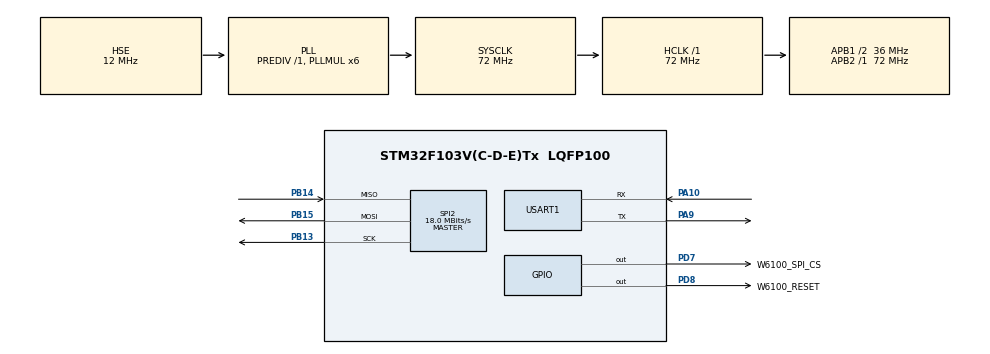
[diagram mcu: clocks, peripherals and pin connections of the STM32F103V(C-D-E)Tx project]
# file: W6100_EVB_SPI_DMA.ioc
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Dma.Request0=SPI2_RX
Dma.Request1=SPI2_TX
Dma.SPI2_RX.0.Direction=DMA_PERIPH_TO_MEMORY
Dma.SPI2_RX.0.Instance=DMA1_Channel4
Dma.SPI2_RX.0.MemDataAlignment=DMA_MDATAALIGN_BYTE
Dma.SPI2_RX.0.MemInc=DMA_MINC_ENABLE
Dma.SPI2_RX.0.Mode=DMA_NORMAL
Dma.SPI2_RX.0.PeriphDataAlignment=DMA_PDATAALIGN_BYTE
Dma.SPI2_RX.0.PeriphInc=DMA_PINC_DISABLE
Dma.SPI2_RX.0.Priority=DMA_PRIORITY_LOW
Dma.SPI2_TX.1.Direction=DMA_MEMORY_TO_PERIPH
Dma.SPI2_TX.1.Instance=DMA1_Channel5
Dma.SPI2_TX.1.MemDataAlignment=DMA_MDATAALIGN_BYTE
Dma.SPI2_TX.1.MemInc=DMA_MINC_ENABLE
Dma.SPI2_TX.1.Mode=DMA_NORMAL
Dma.SPI2_TX.1.PeriphDataAlignment=DMA_PDATAALIGN_BYTE
Dma.SPI2_TX.1.PeriphInc=DMA_PINC_DISABLE
Dma.SPI2_TX.1.Priority=DMA_PRIORITY_LOW
Mcu.Family=STM32F1
Mcu.Name=STM32F103V(C-D-E)Tx
Mcu.Package=LQFP100
NVIC.DMA1_Channel4_IRQn=true\:0\:0\:false\:false\:true\:false\:true\:true
NVIC.DMA1_Channel5_IRQn=true\:0\:0\:false\:false\:true\:false\:true\:true
NVIC.PriorityGroup=NVIC_PRIORITYGROUP_4
NVIC.SPI2_IRQn=true\:0\:0\:false\:false\:true\:true\:true\:true
NVIC.TIM2_IRQn=true\:0\:0\:false\:false\:true\:true\:true\:true
NVIC.USART1_IRQn=true\:0\:0\:false\:false\:true\:true\:true\:true
OSC_IN.Mode=HSE-External-Oscillator
OSC_IN.Signal=RCC_OSC_IN
OSC_OUT.Mode=HSE-External-Oscillator
OSC_OUT.Signal=RCC_OSC_OUT
PA10.Mode=Asynchronous
PA10.Signal=USART1_RX
PA9.Mode=Asynchronous
PA9.Signal=USART1_TX
PB13.Mode=Full_Duplex_Master
PB13.Signal=SPI2_SCK
PB14.Mode=Full_Duplex_Master
PB14.Signal=SPI2_MISO
PB15.Mode=Full_Duplex_Master
PB15.Signal=SPI2_MOSI
PD7.GPIO_Label=W6100_SPI_CS
PD7.Signal=GPIO_Output
PD8.GPIO_Label=W6100_RESET
PD8.Signal=GPIO_Output
ProjectManager.HeapSize=0x200
ProjectManager.StackSize=0x400
ProjectManager.TargetToolchain=STM32CubeIDE
RCC.AHBFreq_Value=72000000
RCC.APB1CLKDivider=RCC_HCLK_DIV2
RCC.APB1Freq_Value=36000000
RCC.APB1TimFreq_Value=72000000
RCC.APB2Freq_Value=72000000
RCC.APB2TimFreq_Value=72000000
RCC.HCLKFreq_Value=72000000
RCC.HSE_VALUE=12000000
RCC.PLLMUL=RCC_PLL_MUL6
RCC.PLLSourceVirtual=RCC_PLLSOURCE_HSE
RCC.SYSCLKFreq_VALUE=72000000
RCC.SYSCLKSource=RCC_SYSCLKSOURCE_PLLCLK
RCC.USBFreq_Value=72000000
SPI2.CLKPhase=SPI_PHASE_2EDGE
SPI2.CLKPolarity=SPI_POLARITY_HIGH
SPI2.CalculateBaudRate=18.0 MBits/s
SPI2.Direction=SPI_DIRECTION_2LINES
SPI2.Mode=SPI_MODE_MASTER
SPI2.VirtualType=VM_MASTER
TIM2.AutoReloadPreload=TIM_AUTORELOAD_PRELOAD_ENABLE
TIM2.Period=10000
TIM2.Prescaler=7199
USART1.VirtualMode=VM_ASYNC
VP_TIM2_VS_ClockSourceINT.Mode=Internal
board=custom

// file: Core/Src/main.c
/* USER CODE BEGIN Header */
/**
  ******************************************************************************
  * @file           : main.c
  * @brief          : Main program body
  ******************************************************************************
  * @attention
  *
  * Copyright (c) 2022 STMicroelectronics.
  * All rights reserved.
  *
  * This software is licensed under terms that can be found in the LICENSE file
  * in the root directory of this software component.
  * If no LICENSE file comes with this software, it is provided AS-IS.
  *
  ******************************************************************************
  */
/* USER CODE END Header */
#include "main.h"

/* USER CODE BEGIN Includes */
#include <stdio.h>
#include "loopback.h"
#include "board_init.h"
#include "AddressAutoConfig.h"
#include "Internet/DHCP6/dhcpv6.h"
#include "Internet/DHCP/dhcp.h"
/* USER CODE END Includes */

/* USER CODE BEGIN PD */
#define ETH_MAX_BUF_SIZE	1024  // default socket buffer size is 2048 Kbytes

// W6100 has 6 sockets(0 - 7).
#define SOCKET_AAC 7
#define SOCKET_DHCP 7
/* USER CODE END PD */

SPI_HandleTypeDef hspi2;
DMA_HandleTypeDef hdma_spi2_rx;
DMA_HandleTypeDef hdma_spi2_tx;

TIM_HandleTypeDef htim2;

UART_HandleTypeDef huart1;

/* USER CODE BEGIN PV */
wiz_NetInfo gWIZNETINFO = {
              .mac = {0x00, 0x08, 0xdc, 0xFF, 0xFF, 0xFF},
							.ip = {192, 168, 111, 107},
							.sn = {255, 255, 255, 0},
							.gw = {192, 168, 11, 1},
							.dns = {8, 8, 8, 8},
							.lla={
                0x00, 0x00, 0x00, 0x00,
                0x00, 0x00, 0x00, 0x00,
                0x00, 0x00, 0x00, 0x00,
                0x00, 0x00, 0x00, 0x00},   ///< Source Link Local Address
							.gua={
								0x00, 0x00, 0x00, 0x00,
                0x00, 0x00, 0x00, 0x00,
                0x00, 0x00, 0x00, 0x00,
                0x00, 0x00, 0x00, 0x00},   ///< Source Global Unicast Address
							.sn6={
								0xFF, 0xFF, 0xFF, 0xFF,
                0xff, 0xFF, 0xFF, 0xFF,
                0x00, 0x00, 0x00, 0x00,
                0x00, 0x00, 0x00, 0x00},   ///< IPv6 Prefix
							.gw6={
								0x00, 0x00, 0x00, 0x00,
                0x00, 0x00, 0x00, 0x00,
                0x00, 0x00, 0x00, 0x00,
                0x00, 0x00, 0x00, 0x00}   ///< Gateway IPv6 Address
};

wiz_NetInfo gWIZNETINFO_M = {
              .mac = {0x00, 0x08, 0xdc, 0xFF, 0xFF, 0xFF},
							.ip = {192, 168, 11, 107},
							.sn = {255, 255, 255, 0},
							.gw = {192, 168, 11, 1},
							.dns = {8, 8, 8, 8},
							.lla={
                0x00, 0x00, 0x00, 0x00,
                0x00, 0x00, 0x00, 0x00,
                0x00, 0x00, 0x00, 0x00,
                0x00, 0x00, 0x00, 0x00},   ///< Source Link Local Address
							.gua={
                0x00, 0x00, 0x00, 0x00,
                0x00, 0x00, 0x00, 0x00,
                0x00, 0x00, 0x00, 0x00,
                0x00, 0x00, 0x00, 0x00},   ///< Source Global Unicast Address
							.sn6={
                0xFF, 0xFF, 0xFF, 0xFF,
                0xff, 0xFF, 0xFF, 0xFF,
                0x00, 0x00, 0x00, 0x00,
                0x00, 0x00, 0x00, 0x00},   ///< IPv6 Prefix
							.gw6={
                0x00, 0x00, 0x00, 0x00,
                0x00, 0x00, 0x00, 0x00,
                0x00, 0x00, 0x00, 0x00,
                0x00, 0x00, 0x00, 0x00}   ///< Gateway IPv6 Address
};

unsigned char ethBuf0[ETH_MAX_BUF_SIZE];
unsigned char ethBuf1[ETH_MAX_BUF_SIZE];
unsigned char ethBuf2[ETH_MAX_BUF_SIZE];
unsigned char ethBuf3[ETH_MAX_BUF_SIZE];
unsigned char ethBuf4[ETH_MAX_BUF_SIZE];
unsigned char ethBuf5[ETH_MAX_BUF_SIZE];
unsigned char ethBuf6[ETH_MAX_BUF_SIZE];
unsigned char ethBuf7[ETH_MAX_BUF_SIZE];

/* USER CODE END PV */

void SystemClock_Config(void);
static void MX_GPIO_Init(void);
static void MX_DMA_Init(void);
static void MX_SPI2_Init(void);
static void MX_USART1_UART_Init(void);
static void MX_TIM2_Init(void);
/* USER CODE BEGIN PFP */
void print_network_information(void);
void HAL_TIM_PeriodElapsedCallback(TIM_HandleTypeDef *htim);
static void wizchip_dhcp_assign(void);
static void wizchip_dhcp_conflict(void);
void wizchip_dhcp_init(void);
void print_ipv6_addr(const char* name, uint8_t* ip6addr);
/* USER CODE END PFP */

int main(void)
{
  /* USER CODE BEGIN 1 */
 	uint16_t ver = 0;
	uint8_t syslock = SYS_NET_LOCK;
	uint8_t svr_ipv4[4] = {192, 168, 177, 235};
	uint8_t svr_ipv6[16] = {
    0xFE, 0x80, 0x00, 0x00,
    0x00, 0x00, 0x00, 0x00,
    0xC1, 0x0B, 0x0A, 0xDF,
    0xEA, 0xF4, 0xF4, 0x2D};

  /* USER CODE END 1 */

  /* MCU Configuration--------------------------------------------------------*/

  /* Reset of all peripherals, Initializes the Flash interface and the Systick. */
  HAL_Init();

  /* Configure the system clock */
  SystemClock_Config();

  /* Initialize all configured peripherals */
  MX_GPIO_Init();
  MX_DMA_Init();
  MX_SPI2_Init();
  MX_USART1_UART_Init();
  MX_TIM2_Init();
  /* USER CODE BEGIN 2 */

  printf("\r\n");
  printf("======================================================\r\n");
  printf("Compiled @ %s %s\r\n", __DATE__, __TIME__);
  printf("W6100-EVB SPI\r\n");
  printf("System start (%d Hz)\r\n", HAL_RCC_GetSysClockFreq());
  printf("======================================================\r\n");

  HAL_TIM_Base_Start_IT(&htim2);
  W6100Initialze();

  ctlwizchip(CW_GET_VER, &ver);
  printf("Chip ver = 0x%x\r\n", ver);

  ctlwizchip(CW_SYS_UNLOCK, &syslock);
  ctlnetwork(CN_SET_NETINFO, &gWIZNETINFO);

  printf("Network Information\r\n");
  print_network_information();

  /* Address Auto Configuration */
  if(1 != AddressAutoConfig_Init(SOCKET_AAC, &gWIZNETINFO))
  {
    // Manual Set IPv6
    gWIZNETINFO = gWIZNETINFO_M;
    ctlnetwork(CN_SET_NETINFO, &gWIZNETINFO);
  }

  printf("DHCP init()\r\n");
  wizchip_dhcp_init();

  printf("DHCP run()\r\n");
  while (DHCP_run() != DHCP_IP_LEASED)
  {
      wiz_delay_ms(1000);
  }
  /* USER CODE END 2 */

  /* Infinite loop */
  /* USER CODE BEGIN WHILE */
  while (1)
  {
#if 1
	  loopback_udps(0, ethBuf0, 50000, AS_IPV4);
	  loopback_udps(1, ethBuf1, 50001, AS_IPV6);
#endif

#if 0
	  loopback_tcpc(2, ethBuf2, svr_ipv4, 50002, AS_IPV4);
	  loopback_tcpc(3, ethBuf3, svr_ipv6, 50003, AS_IPV6);
#endif

#if 1
	  loopback_tcps(4, ethBuf4, 50004, AS_IPV4);
	  loopback_tcps(5, ethBuf5, 50005, AS_IPV6);
	  loopback_tcps(6, ethBuf6, 50006, AS_IPDUAL);
#endif

    DHCP_run();

    /* USER CODE END WHILE */

  }
}

void SystemClock_Config(void)
{
  RCC_OscInitTypeDef RCC_OscInitStruct = {0};
  RCC_ClkInitTypeDef RCC_ClkInitStruct = {0};

  /** Initializes the RCC Oscillators according to the specified parameters
  * in the RCC_OscInitTypeDef structure.
  */
  RCC_OscInitStruct.OscillatorType = RCC_OSCILLATORTYPE_HSE;
  RCC_OscInitStruct.HSEState = RCC_HSE_ON;
  RCC_OscInitStruct.HSEPredivValue = RCC_HSE_PREDIV_DIV1;
  RCC_OscInitStruct.HSIState = RCC_HSI_ON;
  RCC_OscInitStruct.PLL.PLLState = RCC_PLL_ON;
  RCC_OscInitStruct.PLL.PLLSource = RCC_PLLSOURCE_HSE;
  RCC_OscInitStruct.PLL.PLLMUL = RCC_PLL_MUL6;
  if (HAL_RCC_OscConfig(&RCC_OscInitStruct) != HAL_OK)
  {
    Error_Handler();
  }

  /** Initializes the CPU, AHB and APB buses clocks
  */
  RCC_ClkInitStruct.ClockType = RCC_CLOCKTYPE_HCLK|RCC_CLOCKTYPE_SYSCLK
                              |RCC_CLOCKTYPE_PCLK1|RCC_CLOCKTYPE_PCLK2;
  RCC_ClkInitStruct.SYSCLKSource = RCC_SYSCLKSOURCE_PLLCLK;
  RCC_ClkInitStruct.AHBCLKDivider = RCC_SYSCLK_DIV1;
  RCC_ClkInitStruct.APB1CLKDivider = RCC_HCLK_DIV2;
  RCC_ClkInitStruct.APB2CLKDivider = RCC_HCLK_DIV1;

  if (HAL_RCC_ClockConfig(&RCC_ClkInitStruct, FLASH_LATENCY_2) != HAL_OK)
  {
    Error_Handler();
  }
}

static void MX_SPI2_Init(void)
{

  /* SPI2 parameter configuration*/
  hspi2.Instance = SPI2;
  hspi2.Init.Mode = SPI_MODE_MASTER;
  hspi2.Init.Direction = SPI_DIRECTION_2LINES;
  hspi2.Init.DataSize = SPI_DATASIZE_8BIT;
  hspi2.Init.CLKPolarity = SPI_POLARITY_HIGH;
  hspi2.Init.CLKPhase = SPI_PHASE_2EDGE;
  hspi2.Init.NSS = SPI_NSS_SOFT;
  hspi2.Init.BaudRatePrescaler = SPI_BAUDRATEPRESCALER_2;
  hspi2.Init.FirstBit = SPI_FIRSTBIT_MSB;
  hspi2.Init.TIMode = SPI_TIMODE_DISABLE;
  hspi2.Init.CRCCalculation = SPI_CRCCALCULATION_DISABLE;
  hspi2.Init.CRCPolynomial = 10;
  if (HAL_SPI_Init(&hspi2) != HAL_OK)
  {
    Error_Handler();
  }

}

static void MX_TIM2_Init(void)
{

  TIM_ClockConfigTypeDef sClockSourceConfig = {0};
  TIM_MasterConfigTypeDef sMasterConfig = {0};

  htim2.Instance = TIM2;
  htim2.Init.Prescaler = 7199;
  htim2.Init.CounterMode = TIM_COUNTERMODE_UP;
  htim2.Init.Period = 10000;
  htim2.Init.ClockDivision = TIM_CLOCKDIVISION_DIV1;
  htim2.Init.AutoReloadPreload = TIM_AUTORELOAD_PRELOAD_ENABLE;
  if (HAL_TIM_Base_Init(&htim2) != HAL_OK)
  {
    Error_Handler();
  }
  sClockSourceConfig.ClockSource = TIM_CLOCKSOURCE_INTERNAL;
  if (HAL_TIM_ConfigClockSource(&htim2, &sClockSourceConfig) != HAL_OK)
  {
    Error_Handler();
  }
  sMasterConfig.MasterOutputTrigger = TIM_TRGO_RESET;
  sMasterConfig.MasterSlaveMode = TIM_MASTERSLAVEMODE_DISABLE;
  if (HAL_TIMEx_MasterConfigSynchronization(&htim2, &sMasterConfig) != HAL_OK)
  {
    Error_Handler();
  }

}

static void MX_USART1_UART_Init(void)
{

  huart1.Instance = USART1;
  huart1.Init.BaudRate = 115200;
  huart1.Init.WordLength = UART_WORDLENGTH_8B;
  huart1.Init.StopBits = UART_STOPBITS_1;
  huart1.Init.Parity = UART_PARITY_NONE;
  huart1.Init.Mode = UART_MODE_TX_RX;
  huart1.Init.HwFlowCtl = UART_HWCONTROL_NONE;
  huart1.Init.OverSampling = UART_OVERSAMPLING_16;
  if (HAL_UART_Init(&huart1) != HAL_OK)
  {
    Error_Handler();
  }

}

static void MX_DMA_Init(void)
{

  /* DMA controller clock enable */
  __HAL_RCC_DMA1_CLK_ENABLE();

  /* DMA interrupt init */
  /* DMA1_Channel4_IRQn interrupt configuration */
  HAL_NVIC_SetPriority(DMA1_Channel4_IRQn, 0, 0);
  HAL_NVIC_EnableIRQ(DMA1_Channel4_IRQn);
  /* DMA1_Channel5_IRQn interrupt configuration */
  HAL_NVIC_SetPriority(DMA1_Channel5_IRQn, 0, 0);
  HAL_NVIC_EnableIRQ(DMA1_Channel5_IRQn);

}

static void MX_GPIO_Init(void)
{
  GPIO_InitTypeDef GPIO_InitStruct = {0};

  /* GPIO Ports Clock Enable */
  __HAL_RCC_GPIOB_CLK_ENABLE();
  __HAL_RCC_GPIOD_CLK_ENABLE();
  __HAL_RCC_GPIOA_CLK_ENABLE();

  /*Configure GPIO pin Output Level */
  HAL_GPIO_WritePin(GPIOD, W6100_RESET_Pin|W6100_SPI_CS_Pin, GPIO_PIN_RESET);

  /*Configure GPIO pins : W6100_RESET_Pin W6100_SPI_CS_Pin */
  GPIO_InitStruct.Pin = W6100_RESET_Pin|W6100_SPI_CS_Pin;
  GPIO_InitStruct.Mode = GPIO_MODE_OUTPUT_PP;
  GPIO_InitStruct.Pull = GPIO_NOPULL;
  GPIO_InitStruct.Speed = GPIO_SPEED_FREQ_LOW;
  HAL_GPIO_Init(GPIOD, &GPIO_InitStruct);

}

/* USER CODE BEGIN 4 */

/* UART */
int _write(int fd, char *str, int len)
{
	for(int i=0; i<len; i++)
	{
		HAL_UART_Transmit(&huart1, (uint8_t *)&str[i], 1, 0xFFFF);
	}
	return len;
}

void print_network_information(void)
{
	wizchip_getnetinfo(&gWIZNETINFO);

	printf("Mac address: %02x:%02x:%02x:%02x:%02x:%02x\r\n",gWIZNETINFO.mac[0],gWIZNETINFO.mac[1],gWIZNETINFO.mac[2],gWIZNETINFO.mac[3],gWIZNETINFO.mac[4],gWIZNETINFO.mac[5]);
	printf("IP address : %d.%d.%d.%d\r\n",gWIZNETINFO.ip[0],gWIZNETINFO.ip[1],gWIZNETINFO.ip[2],gWIZNETINFO.ip[3]);
	printf("SM Mask    : %d.%d.%d.%d\r\n",gWIZNETINFO.sn[0],gWIZNETINFO.sn[1],gWIZNETINFO.sn[2],gWIZNETINFO.sn[3]);
	printf("Gate way   : %d.%d.%d.%d\r\n",gWIZNETINFO.gw[0],gWIZNETINFO.gw[1],gWIZNETINFO.gw[2],gWIZNETINFO.gw[3]);
	printf("DNS Server : %d.%d.%d.%d\r\n",gWIZNETINFO.dns[0],gWIZNETINFO.dns[1],gWIZNETINFO.dns[2],gWIZNETINFO.dns[3]);

	print_ipv6_addr("GW6 ", gWIZNETINFO.gw6);
	print_ipv6_addr("LLA ", gWIZNETINFO.lla);
	print_ipv6_addr("GUA ", gWIZNETINFO.gua);
	print_ipv6_addr("SUB6", gWIZNETINFO.sn6);

	printf("\r\nNETCFGLOCK : %x\r\n", getNETLCKR());
}

void print_ipv6_addr(const char* name, uint8_t* ip6addr)
{
	printf("%s : ", name);
	printf("%04X:%04X", ((uint16_t)ip6addr[0] << 8) | ((uint16_t)ip6addr[1]), ((uint16_t)ip6addr[2] << 8) | ((uint16_t)ip6addr[3]));
	printf(":%04X:%04X", ((uint16_t)ip6addr[4] << 8) | ((uint16_t)ip6addr[5]), ((uint16_t)ip6addr[6] << 8) | ((uint16_t)ip6addr[7]));
	printf(":%04X:%04X", ((uint16_t)ip6addr[8] << 8) | ((uint16_t)ip6addr[9]), ((uint16_t)ip6addr[10] << 8) | ((uint16_t)ip6addr[11]));
	printf(":%04X:%04X\r\n", ((uint16_t)ip6addr[12] << 8) | ((uint16_t)ip6addr[13]), ((uint16_t)ip6addr[14] << 8) | ((uint16_t)ip6addr[15]));
}

void HAL_TIM_PeriodElapsedCallback(TIM_HandleTypeDef *htim)
{
	DHCP6_time_handler();
	DHCP_time_handler();
}

static void wizchip_dhcp_assign(void)
{
  getIPfromDHCP(gWIZNETINFO.ip);
  getGWfromDHCP(gWIZNETINFO.gw);
  getSNfromDHCP(gWIZNETINFO.sn);
  getDNSfromDHCP(gWIZNETINFO.dns);

  ctlnetwork(CN_SET_NETINFO, &gWIZNETINFO);
  printf("\r\n----------DHCP Net Information--------------\r\n");
  print_network_information();
}

static void wizchip_dhcp_conflict(void)
{
	printf("wizchip_dhcp_conflict\r\n");
}

void wizchip_dhcp_init(void)
{
  DHCP_init(SOCKET_DHCP, ethBuf7);
  reg_dhcp_cbfunc(wizchip_dhcp_assign, wizchip_dhcp_assign, wizchip_dhcp_conflict);
}
/* USER CODE END 4 */

void Error_Handler(void)
{
  __disable_irq();
  while (1)
  {
  }
}
